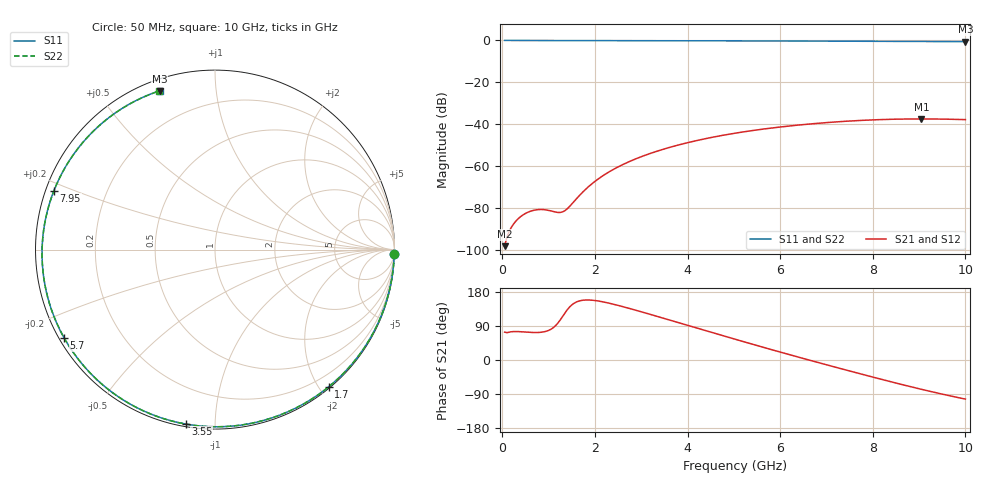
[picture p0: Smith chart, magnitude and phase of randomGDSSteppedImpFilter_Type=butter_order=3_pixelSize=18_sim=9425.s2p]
! freq	dB(S11)	phase(S11)	dB(S12)	phase(S12)
!  dB(S21)	phase(S21)	dB(S22)	phase(S22)
!S-par simulation data
#  GHz  S  DB  R 50
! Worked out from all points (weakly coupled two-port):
!   200 points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, 50 MHz to 10 GHz, reference 50 ohm
!   highest |S21| = -37.44 dB at 9.05 GHz (marker M1); lowest = -98.1 dB at 50 MHz (marker M2)
!   lowest |S11| = -0.6 dB at 10 GHz (marker M3), VSWR 30.75, Z = 2.44 + j35.4 ohm
!   |S11| at or under -10 dB: nowhere
!   |S22| runs from -0.6 to 0.0 dB; largest |S21 - S12| = 0
!   S11 on the Smith chart (normalised r, x): 50 MHz: 2, -78; 1.7 GHz: 0.02, -2.13; 3.55 GHz: 0.01, -0.85; 5.7 GHz: 0.01, -0.27; 7.95 GHz: 0.02, +0.18; 10 GHz: 0.05, +0.71
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0.05  -0.01 -1.5  -98.14 73.6  -98.14 73.6  -0.01 -1.5
0.7  -0.03 -21.1  -80.93 72.5  -80.93 72.5  -0.03 -21.1
1.4  -0.05 -41.8  -80.34 132.2  -80.34 132.2  -0.05 -41.8
1.45  -0.05 -43.2  -79.26 139.5  -79.26 139.5  -0.05 -43.2
1.7  -0.06 -50.4  -73.17 156.9  -73.17 156.9  -0.06 -50.4
1.75  -0.06 -51.8  -72.06 157.9  -72.06 157.9  -0.06 -51.8
2.05  -0.07 -60.2  -66.41 156.1  -66.41 156.1  -0.07 -60.2
2.45  -0.09 -71.1  -60.91 145.7  -60.91 145.7  -0.09 -71.1
2.9  -0.10 -83.1  -56.32 130.8  -56.32 130.8  -0.10 -83.0
3.4  -0.12 -95.8  -52.42 113.1  -52.42 113.1  -0.12 -95.8
3.55  -0.13 -99.6  -51.42 107.7  -51.42 107.7  -0.13 -99.5
4.25  -0.15 -116.5  -47.50 82.6  -47.50 82.6  -0.15 -116.5
5.05  -0.19 -135.0  -44.16 54.0  -44.16 54.0  -0.19 -135.0
5.7  -0.23 -149.7  -42.09 31.2  -42.09 31.2  -0.23 -149.6
6.2  -0.26 -160.8  -40.81 14.1  -40.81 14.1  -0.26 -160.8
6.7  -0.30 -171.9  -39.74 -2.7  -39.74 -2.7  -0.30 -171.9
7.35  -0.35 173.6  -38.65 -24.1  -38.65 -24.1  -0.35 173.6
7.95  -0.40 159.9  -37.94 -43.5  -37.94 -43.5  -0.40 159.9
8.35  -0.43 150.5  -37.64 -56.1  -37.64 -56.1  -0.43 150.5
9.05  -0.49 133.6  -37.44 -77.3  -37.44 -77.3  -0.49 133.6
9.55  -0.53 121.0  -37.54 -91.4  -37.54 -91.4  -0.53 121.0
10  -0.57 109.3  -37.77 -103.2  -37.77 -103.2  -0.57 109.3
